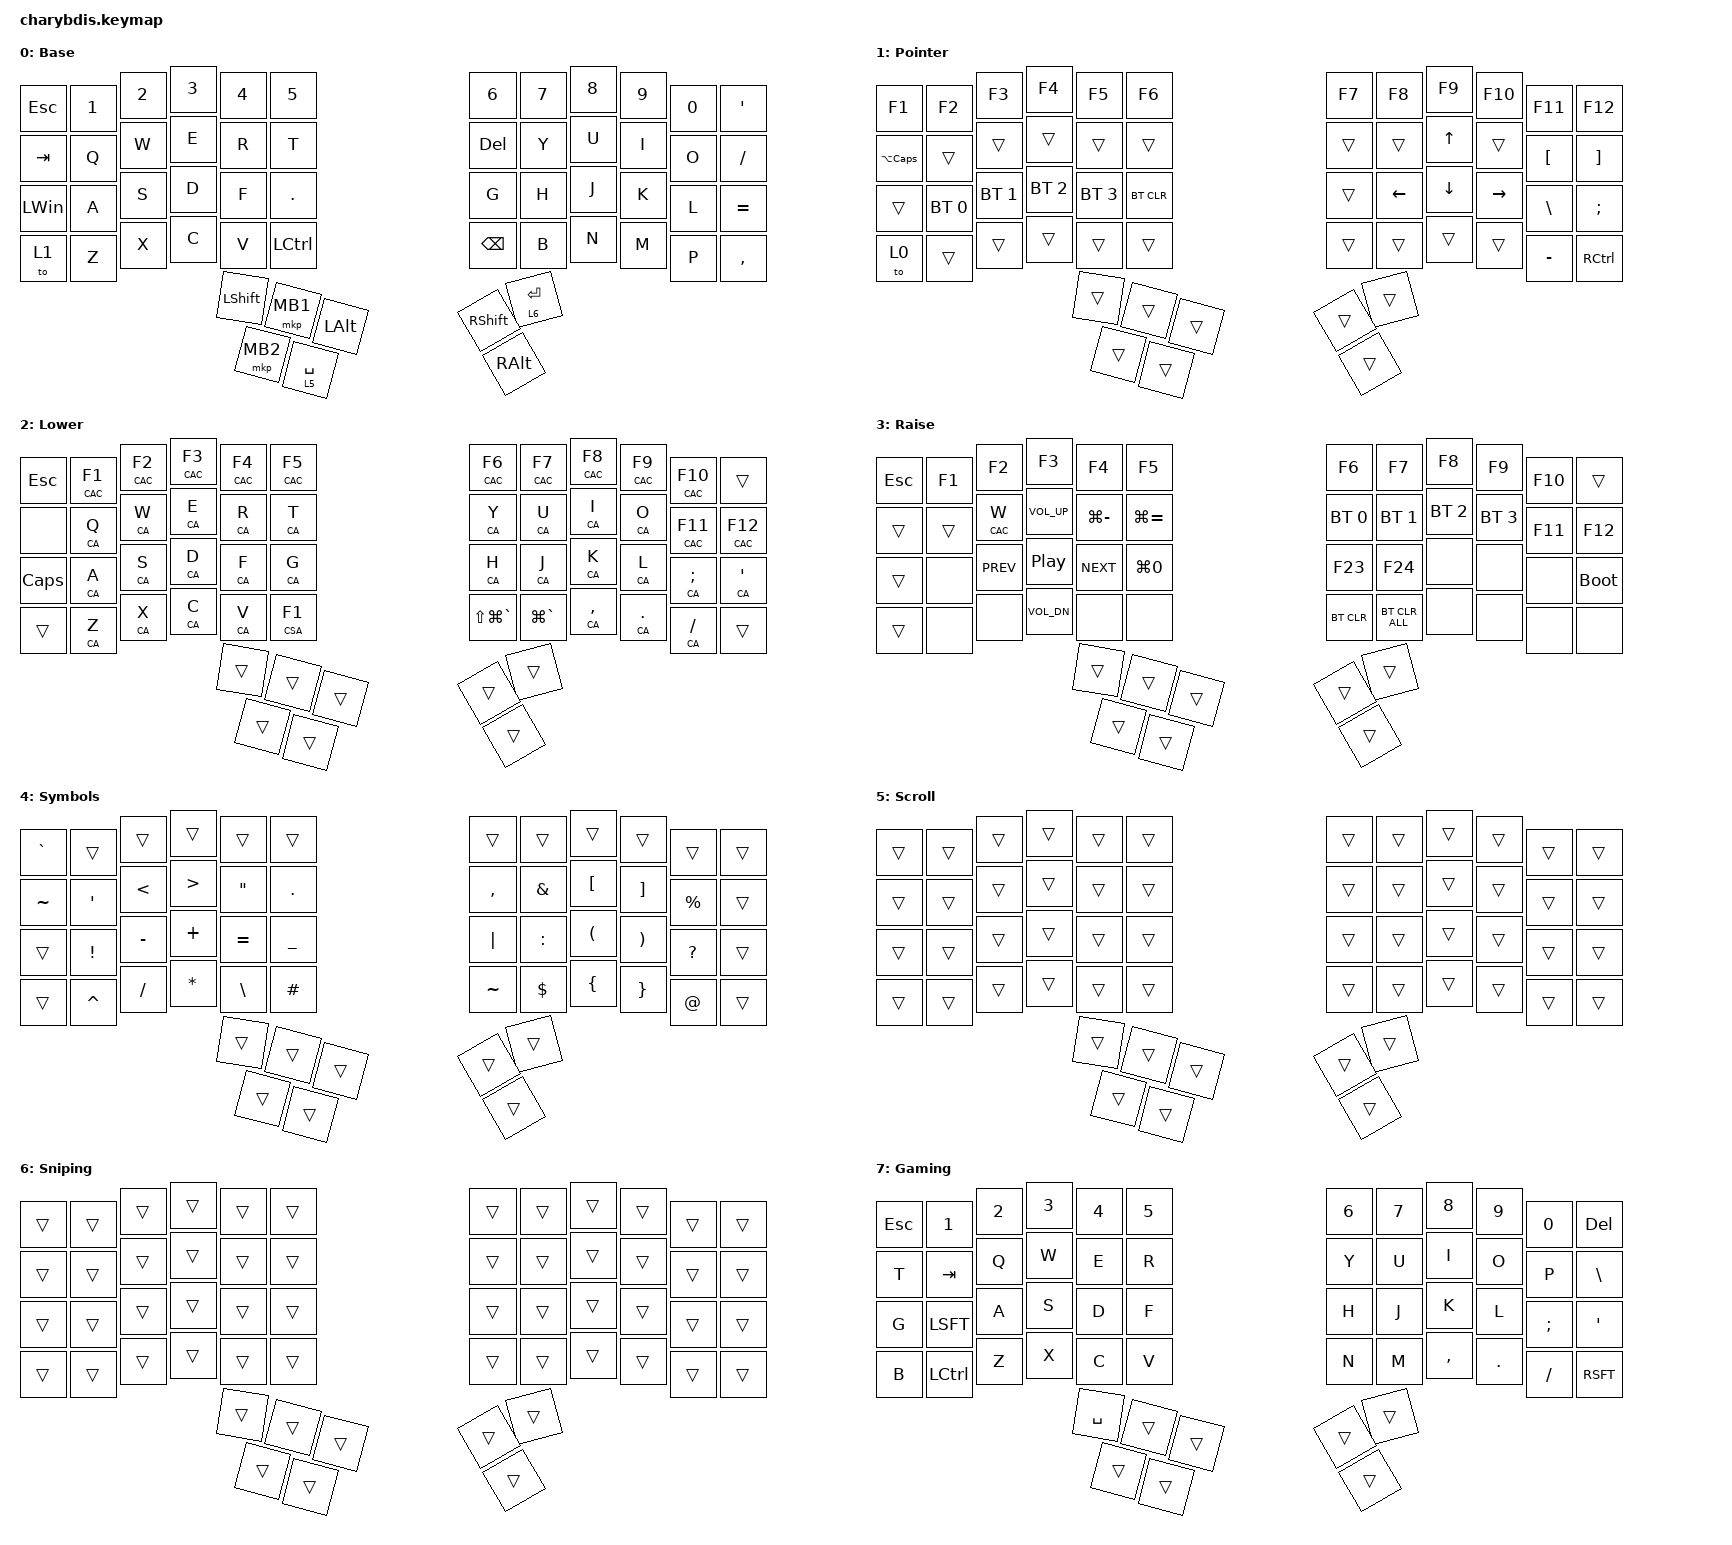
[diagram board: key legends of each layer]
#include <dt-bindings/zmk/mouse.h>
#include <behaviors/mouse_keys.dtsi>
#include <behaviors.dtsi>
#include <dt-bindings/zmk/bt.h>
#include <dt-bindings/zmk/keys.h>
#include <dt-bindings/zmk/pointing.h>

/ {
    chosen { zmk,physical-layout = &charybdis_6col_layout; };
};

&mt {
    quick-tap-ms = <200>;
    flavor = "tap-preferred";
    tapping-term-ms = <170>;
};

&lt {
    quick-tap-ms = <200>;
    flavor = "tap-preferred";
    tapping-term-ms = <170>;
};

// Layer definitions

#define BASE 0
#define POINTER 1
#define LOWER 2
#define RAISE 3
#define SYMBOLS 4
#define SCROLL 5
#define SNIPING 6
#define GAMING 7

/ {
    behaviors {
        // Hold-tap behavior for layer with tap-preferred

        blt: blt {
            compatible = "zmk,behavior-hold-tap";
            #binding-cells = <2>;
            flavor = "tap-preferred";
            tapping-term-ms = <200>;
            quick-tap-ms = <300>;
            require-prior-idle-ms = <100>;
            bindings = <&mo>, <&kp>;
        };

        // Tap-dance for GUI/Ctrl+B

        gui_ctrlb: gui_ctrlb {
            compatible = "zmk,behavior-tap-dance";
            #binding-cells = <0>;
            tapping-term-ms = <200>;
            bindings = <&kp LGUI>, <&kp LC(B)>;
        };

        // Home row mods - Left hand

        hml: home_row_mod_left {
            compatible = "zmk,behavior-hold-tap";
            #binding-cells = <2>;
            flavor = "balanced";
            require-prior-idle-ms = <150>;
            tapping-term-ms = <280>;
            quick-tap-ms = <175>;
            bindings = <&kp>, <&kp>;

            hold-trigger-key-positions = <6 7 8 9 10 11 18 19 20 21 22 23 30 31 32 33 34 35 42 43 44 45 46 47 53 54 55>; // Right side keys
            hold-trigger-on-release;
        };

        // Home row mods - Right hand

        hmr: home_row_mod_right {
            compatible = "zmk,behavior-hold-tap";
            #binding-cells = <2>;
            flavor = "balanced";
            require-prior-idle-ms = <150>;
            tapping-term-ms = <280>;
            quick-tap-ms = <175>;
            bindings = <&kp>, <&kp>;

            hold-trigger-key-positions = <0 1 2 3 4 5 12 13 14 15 16 17 24 25 26 27 28 29 36 37 38 39 40 41 48 49 50 51 52>; // Left side keys
            hold-trigger-on-release;
        };
    };

    macros {
        // Ctrl+Alt+Cmd macro

        CAC: CAC {
            compatible = "zmk,behavior-macro-one-param";
            #binding-cells = <1>;
            bindings =
                <&macro_press>,
                <&kp LCTRL &kp LALT &kp LGUI &macro_param_1to1>,
                <&macro_tap>,
                <&kp MACRO_PLACEHOLDER>,
                <&macro_release>,
                <&kp LCTRL &kp LALT &kp LGUI>;
        };

        // Ctrl+Shift+Alt macro

        CSA: CSA {
            compatible = "zmk,behavior-macro-one-param";
            #binding-cells = <1>;
            bindings =
                <&macro_press>,
                <&kp LCTRL &kp LSHIFT &kp LALT &macro_param_1to1>,
                <&macro_tap>,
                <&kp MACRO_PLACEHOLDER>,
                <&macro_release>,
                <&kp LCTRL &kp LSHIFT &kp LALT>;
        };

        // Ctrl+Alt macro

        CA: CA {
            compatible = "zmk,behavior-macro-one-param";
            #binding-cells = <1>;
            bindings =
                <&macro_press>,
                <&kp LCTRL &kp LALT &macro_param_1to1>,
                <&macro_tap>,
                <&kp MACRO_PLACEHOLDER>,
                <&macro_release>,
                <&kp LCTRL &kp LALT>;
        };

        // Shift+Middle Click macro

        ls_mclk: ls_mclk {
            compatible = "zmk,behavior-macro";
            wait-ms = <0>;
            tap-ms = <10>;
            #binding-cells = <0>;
            bindings =
                <&macro_press>,
                <&kp LSHIFT>,
                <&macro_tap>,
                <&mkp MCLK>,
                <&macro_release>,
                <&kp LSHIFT>;
        };
    };

    /* ★★★ 여기 수정했습니다! if defined 구문 추가 ★★★ */

    #if defined(CONFIG_ZMK_POINTING)

    trackball_listener {
        compatible = "zmk,input-listener";
        device = <&trackball>;

        layer_scroll {
            layers = <5>;
            input-processors = <&zip_scroll_transform (INPUT_TRANSFORM_XY_SWAP | INPUT_TRANSFORM_X_INVERT)>;
        };

        layer_sniping {
            layers = <6>;
            input-processors = <&zip_temp_layer 6 1200>;
        };
    };

    #endif

    combos {
        compatible = "zmk,combos";
        timeout-ms = <20>;
        require-prior-idle-ms = <250>;

        // Studio Unlock Combo - all three right thumb keys

        combo_studio_unlock {
            timeout-ms = <50>;
            key-positions = <53 54 55>;
            bindings = <&studio_unlock>;
        };

        // Gaming layer toggle combo - keys 49, 55, 54

        combo_gaming_toggle {
            timeout-ms = <50>;
            key-positions = <49 55 54>;
            bindings = <&tog GAMING>;
        };
    };

    keymap {
        compatible = "zmk,keymap";

        // ╭─────────────┬─────────────┬─────────────┬─────────────┬─────────────┬─────────────╮   ╭─────────────┬─────────────┬─────────────┬─────────────┬─────────────┬─────────────╮
        //    0             1             2             3             4             5                 6             7             8             9            10            11
        // ├─────────────┼─────────────┼─────────────┼─────────────┼─────────────┼─────────────┤   ├─────────────┼─────────────┼─────────────┼─────────────┼─────────────┼─────────────┤
        //   12            13            14            15            16            17                18            19            20            21            22            23
        // ├─────────────┼─────────────┼─────────────┼─────────────┼─────────────┼─────────────┤   ├─────────────┼─────────────┼─────────────┼─────────────┼─────────────┼─────────────┤
        //   24            25            26            27            28            29                30            31            32            33            34            35
        // ├─────────────┼─────────────┼─────────────┼─────────────┼─────────────┼─────────────┤   ├─────────────┼─────────────┼─────────────┼─────────────┼─────────────┼─────────────┤
        //   36            37            38            39            40            41                42            43            44            45            46            47
        // ╰─────────────┴─────────────┴─────────────┴─────────────┴─────────────┴─────────────╯   ╰─────────────┴─────────────┴─────────────┴─────────────┴─────────────┴─────────────╯
        //               ╭─────────────┬─────────────┬─────────────┬─────────────┬─────────────╮   ╭─────────────┬─────────────┬─────────────╮
        //                  48            49            50            51            52                53            54            55
        //               ╰─────────────┴─────────────┴─────────────┴─────────────┴─────────────╯   ╰─────────────┴─────────────┴─────────────╯
        //                                                                         Actual Key Positions
        //                                          ╭─────────────┬─────────────┬─────────────╮    ╭─────────────┬─────────────╮
        //                                             50           51            48                 55            54
        //                                          ╰─────────────┼─────────────┼─────────────┤    ├─────────────┼─────────────╯
        //                                                          52            49                 53
        //                                                        ╰─────────────┴─────────────╯    ╰─────────────╯

        base_layer {
            label = "BASE";
            display-name = "Base";
            bindings = <
&kp ESC       &kp N1        &kp N2       &kp N3          &kp N4    &kp N5            &kp N6                        &kp N7       &kp N8  &kp N9           &kp N0  &kp SQT
&kp TAB       &kp Q         &kp W        &kp E           &kp R     &kp T                            &kp DELETE     &kp Y        &kp U   &kp I            &kp O   &kp SLASH
&kp LEFT_WIN  &kp A         &kp S        &kp D           &kp F     &kp PERIOD                       &kp G          &kp H        &kp J   &kp K            &kp L   &kp EQUAL
&to 1         &kp Z         &kp X        &kp C           &kp V     &kp LEFT_CONTROL                 &kp BACKSPACE  &kp B        &kp N   &kp M            &kp P   &kp COMMA
              &kp LEFT_ALT  &lt 5 SPACE  &kp LEFT_SHIFT  &mkp MB1  &mkp MB2          &kp RIGHT_ALT                 &lt 6 ENTER          &kp RIGHT_SHIFT
            >;
        };

        pointer_layer {
            label = "POINTER";
            display-name = "Pointer";
            bindings = <
&kp F1        &kp F2        &kp F3        &kp F4        &kp F5        &kp F6      &kp F7          &kp F8          &kp F9          &kp F10    &kp F11           &kp F12
&kp LA(CAPS)  &trans        &trans        &trans        &trans        &trans              &trans  &trans          &kp UP_ARROW    &trans     &kp LEFT_BRACKET  &kp RIGHT_BRACKET
&trans        &bt BT_SEL 0  &bt BT_SEL 1  &bt BT_SEL 2  &bt BT_SEL 3  &bt BT_CLR          &trans  &kp LEFT_ARROW  &kp DOWN_ARROW  &kp RIGHT  &kp BACKSLASH     &kp SEMICOLON
&to 0         &trans        &trans        &trans        &trans        &trans              &trans  &trans          &trans          &trans     &kp MINUS         &kp RIGHT_CONTROL
              &trans        &trans        &trans        &trans        &trans      &trans          &trans                          &trans
            >;
        };

        lower_layer {
            label = "LOWER";
            display-name = "Lower";
            bindings = <
&kp ESC   &CAC F1  &CAC F2  &CAC F3  &CAC F4  &CAC F5  &CAC F6                     &CAC F7        &CAC F8    &CAC F9  &CAC F10  &trans
&none     &CA Q    &CA W    &CA E    &CA R    &CA T             &CA Y              &CA U          &CA I      &CA O    &CAC F11  &CAC F12
&kp CAPS  &CA A    &CA S    &CA D    &CA F    &CA G             &CA H              &CA J          &CA K      &CA L    &CA SEMI  &CA SQT
&trans    &CA Z    &CA X    &CA C    &CA V    &CSA F1           &kp LS(LG(GRAVE))  &kp LG(GRAVE)  &CA COMMA  &CA DOT  &CA FSLH  &trans
          &trans   &trans   &trans   &trans   &trans   &trans                      &trans                    &trans
            >;
        };

        raise_layer {
            label = "RAISE";
            display-name = "Raise";
            bindings = <
&kp ESC  &kp F1  &kp F2      &kp F3        &kp F4         &kp F5         &kp F6                &kp F7          &kp F8        &kp F9        &kp F10  &trans
&trans   &trans  &CAC W      &kp C_VOL_UP  &kp LG(MINUS)  &kp LG(EQUAL)          &bt BT_SEL 0  &bt BT_SEL 1    &bt BT_SEL 2  &bt BT_SEL 3  &kp F11  &kp F12
&trans   &none   &kp C_PREV  &kp C_PP      &kp C_NEXT     &kp LG(N0)             &kp F23       &kp F24         &none         &none         &none    &bootloader
&trans   &none   &none       &kp C_VOL_DN  &none          &none                  &bt BT_CLR    &bt BT_CLR_ALL  &none         &none         &none    &none
         &trans  &trans      &trans        &trans         &trans         &trans                &trans                        &trans
            >;
        };

        symbols_layer {
            label = "SYMBOLS";
            display-name = "Symbols";
            bindings = <
&kp GRAVE  &trans     &trans     &trans     &trans     &trans     &trans             &trans     &trans    &trans    &trans     &trans
&kp TILDE  &kp SQT    &kp LT     &kp GT     &kp DQT    &kp DOT            &kp COMMA  &kp AMPS   &kp LBKT  &kp RBKT  &kp PRCNT  &trans
&trans     &kp EXCL   &kp MINUS  &kp PLUS   &kp EQUAL  &kp UNDER          &kp PIPE   &kp COLON  &kp LPAR  &kp RPAR  &kp QMARK  &trans
&trans     &kp CARET  &kp FSLH   &kp ASTRK  &kp BSLH   &kp HASH           &kp TILDE  &kp DLLR   &kp LBRC  &kp RBRC  &kp AT     &trans
           &trans     &trans     &trans     &trans     &trans     &trans             &trans               &trans
            >;
        };

        scroll_layer {
            label = "SCROLL";
            display-name = "Scroll";
            bindings = <
&trans  &trans  &trans  &trans  &trans  &trans  &trans          &trans  &trans  &trans  &trans  &trans
&trans  &trans  &trans  &trans  &trans  &trans          &trans  &trans  &trans  &trans  &trans  &trans
&trans  &trans  &trans  &trans  &trans  &trans          &trans  &trans  &trans  &trans  &trans  &trans
&trans  &trans  &trans  &trans  &trans  &trans          &trans  &trans  &trans  &trans  &trans  &trans
        &trans  &trans  &trans  &trans  &trans  &trans          &trans          &trans
            >;
        };

        sniping_layer {
            label = "SNIPING";
            display-name = "Sniping";
            bindings = <
&trans  &trans  &trans  &trans  &trans  &trans  &trans          &trans  &trans  &trans  &trans  &trans
&trans  &trans  &trans  &trans  &trans  &trans          &trans  &trans  &trans  &trans  &trans  &trans
&trans  &trans  &trans  &trans  &trans  &trans          &trans  &trans  &trans  &trans  &trans  &trans
&trans  &trans  &trans  &trans  &trans  &trans          &trans  &trans  &trans  &trans  &trans  &trans
        &trans  &trans  &trans  &trans  &trans  &trans          &trans          &trans
            >;
        };

        gaming_layer {
            label = "GAMING";
            display-name = "Gaming";
            bindings = <
&kp ESC  &kp N1     &kp N2  &kp N3     &kp N4  &kp N5  &kp N6         &kp N7  &kp N8     &kp N9   &kp N0    &kp DEL
&kp T    &kp TAB    &kp Q   &kp W      &kp E   &kp R           &kp Y  &kp U   &kp I      &kp O    &kp P     &kp BSLH
&kp G    &kp LSFT   &kp A   &kp S      &kp D   &kp F           &kp H  &kp J   &kp K      &kp L    &kp SEMI  &kp SQT
&kp B    &kp LCTRL  &kp Z   &kp X      &kp C   &kp V           &kp N  &kp M   &kp COMMA  &kp DOT  &kp FSLH  &kp RSFT
         &trans     &trans  &kp SPACE  &trans  &trans  &trans         &trans             &trans
            >;
        };
    };
};
